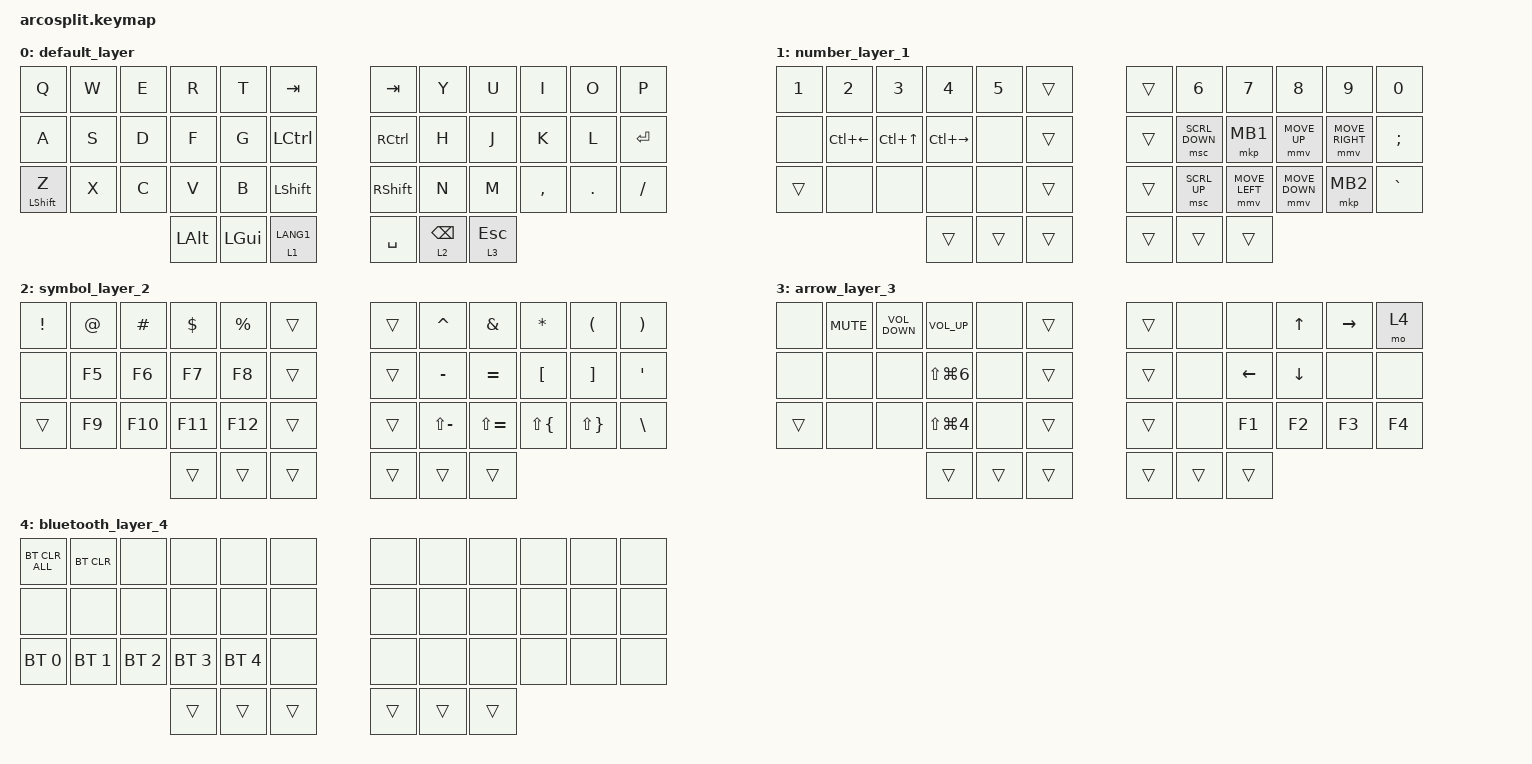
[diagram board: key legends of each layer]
/*
 * Copyright (c) 2021 The ZMK Contributors
 *
 * SPDX-License-Identifier: MIT
 */

#include <behaviors.dtsi>
#include <dt-bindings/zmk/bt.h>
#include <dt-bindings/zmk/keys.h>
#include <dt-bindings/zmk/pointing.h>

#define L1 1
#define L2 2
#define L3 3
#define L4 4

/ {
    behaviors {
        ht_tp: hold_tap_tap_preferred {
            compatible = "zmk,behavior-hold-tap";
            label = "HOLD_TAP_TAP_PREFERRSED";
            #binding-cells = <2>;
            flavor = "tap-preferred";
            tapping-term-ms = <200>;
            quick-tap-ms = <0>;
            bindings = <&kp>, <&kp>;
        };
    };

    keymap {
        compatible = "zmk,keymap";

        default_layer {
            bindings = <
&kp Q        &kp W  &kp E  &kp R         &kp T         &kp TAB         &kp TAB          &kp Y            &kp U         &kp I      &kp O       &kp P
&kp A        &kp S  &kp D  &kp F         &kp G         &kp LCTRL       &kp RCTRL        &kp H            &kp J         &kp K      &kp L       &kp ENTER
&mt LSHFT Z  &kp X  &kp C  &kp V         &kp B         &kp LEFT_SHIFT  &kp RIGHT_SHIFT  &kp N            &kp M         &kp COMMA  &kp PERIOD  &kp SLASH
                           &kp LEFT_ALT  &kp LEFT_GUI  &lt 1 LANG1     &kp SPACE        &lt 2 BACKSPACE  &lt 3 ESCAPE
            >;
        };

        number_layer_1 {
            bindings = <
&kp NUMBER_1  &kp NUMBER_2        &kp NUMBER_3      &kp NUMBER_4         &kp N5  &trans  &trans  &kp NUMBER_6    &kp NUMBER_7    &kp NUMBER_8    &kp NUMBER_9     &kp NUMBER_0
&none         &kp LC(LEFT_ARROW)  &kp LC(UP_ARROW)  &kp LC(RIGHT_ARROW)  &none   &trans  &trans  &msc SCRL_DOWN  &mkp MB1        &mmv MOVE_UP    &mmv MOVE_RIGHT  &kp SEMICOLON
&trans        &none               &none             &none                &none   &trans  &trans  &msc SCRL_UP    &mmv MOVE_LEFT  &mmv MOVE_DOWN  &mkp MB2         &kp GRAVE
                                                    &trans               &trans  &trans  &trans  &trans          &trans
            >;
        };

        symbol_layer_2 {
            bindings = <
&kp EXCLAMATION  &kp AT_SIGN  &kp HASH  &kp DOLLAR  &kp PERCENT  &trans  &trans  &kp CARET      &kp AMPERSAND  &kp ASTERISK        &kp LEFT_PARENTHESIS  &kp RIGHT_PARENTHESIS
&none            &kp F5       &kp F6    &kp F7      &kp F8       &trans  &trans  &kp MINUS      &kp EQUAL      &kp LEFT_BRACKET    &kp RIGHT_BRACKET     &kp SINGLE_QUOTE
&trans           &kp F9       &kp F10   &kp F11     &kp F12      &trans  &trans  &kp LS(MINUS)  &kp LS(EQUAL)  &kp LS(LEFT_BRACE)  &kp LS(RIGHT_BRACE)   &kp BACKSLASH
                                        &trans      &trans       &trans  &trans  &trans         &trans
            >;
        };

        arrow_layer_3 {
            bindings = <
&none   &kp C_MUTE  &kp C_VOLUME_DOWN  &kp C_VOLUME_UP       &none   &trans  &trans  &none   &none           &kp UP_ARROW    &kp RIGHT_ARROW  &mo 4
&none   &none       &none              &kp LS(LG(NUMBER_6))  &none   &trans  &trans  &none   &kp LEFT_ARROW  &kp DOWN_ARROW  &none            &none
&trans  &none       &none              &kp LS(LG(NUMBER_4))  &none   &trans  &trans  &none   &kp F1          &kp F2          &kp F3           &kp F4
                                       &trans                &trans  &trans  &trans  &trans  &trans
            >;
        };

        bluetooth_layer_4 {
            bindings = <
&bt BT_CLR_ALL  &bt BT_CLR    &none         &none         &none         &none   &none   &none   &none   &none  &none  &none
&none           &none         &none         &none         &none         &none   &none   &none   &none   &none  &none  &none
&bt BT_SEL 0    &bt BT_SEL 1  &bt BT_SEL 2  &bt BT_SEL 3  &bt BT_SEL 4  &none   &none   &none   &none   &none  &none  &none
                                            &trans        &trans        &trans  &trans  &trans  &trans
            >;
        };
    };
};
